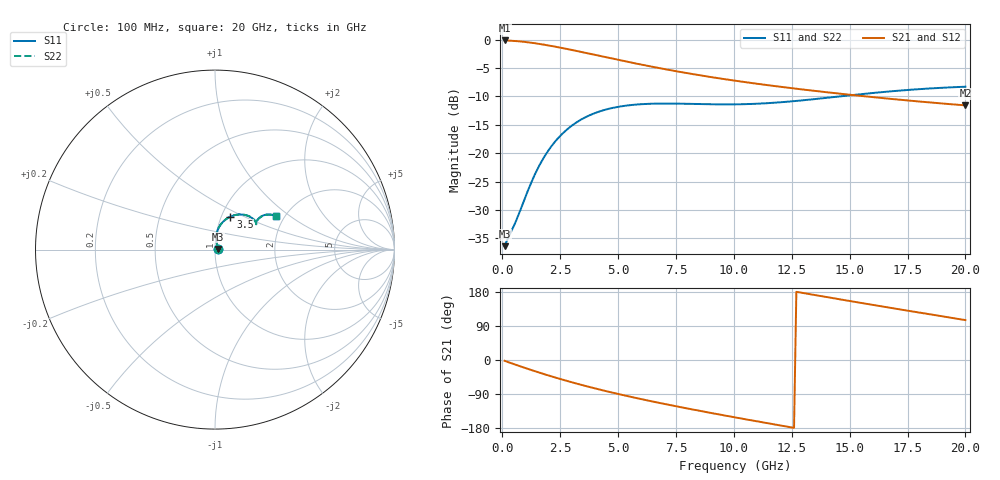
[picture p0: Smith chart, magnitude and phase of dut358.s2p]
! Touchstone file exported from HFSS 2024.1.0
!  File:  C:/UserFiles/LocalFiles/RDL_TSV_Batchsim/temp_RDL_TSV_358_1779639706.aedt
!  Generated:  12:39:42 AM May 25, 2026
!  Design:  RDL_TSV
!  Project:  temp_RDL_TSV_358_1779639706
!  Setup:  Setup1
!  Solution:  Sweep
! Variables:
!  dtsv = 8.97um
!  hbump = 3um
!  htsv = 79.08um
!  ldown = 349um
!  lrdl = 679.72um
!  p = 40
!  p1 = 56.31um
!  rhole = 10um
!  subl = 3765.88um
!  t = 450um
!  tdown = 4.45um
!  trdl = 4.34um
!  viad = 10um
!  wdown = 27.7um
!  wrdl = 21.3um
!  xbump = 18um
# GHz S MA R 50.000000
! Terminal data exported
! Port[1] = TM1_1_T1
! Port[2] = TM1_4_T1
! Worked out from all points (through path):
!   200 points, 100 MHz to 20 GHz, reference 50 ohm
!   highest |S21| = -0.13 dB at 100 MHz (marker M1); lowest = -11.6 dB at 20 GHz (marker M2)
!   group delay of S21, straight-line fit = 33.4 ps
!   lowest |S11| = -36.4 dB at 100 MHz (marker M3), VSWR 1.03, Z = 51.5 + j0.438 ohm
!   |S11| at or under -10 dB: start of sweep to 14.57 GHz
!   |S22| runs from -36.4 to -8.3 dB; largest |S21 - S12| = 1e-14
!   S11 on the Smith chart (normalised r, x): 100 MHz: 1.03, +0.01; 3.5 GHz: 1.10, +0.42; 20 GHz: 1.80, +0.79
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0.1  0.01514 16.3  0.9851 -2.2  0.9851 -2.2  0.01514 16.3
! Gamma 0 0 0 0
! Port Impedance 50 0 50 0
0.6  0.02543 59.0  0.9725 -13.0  0.9725 -13.0  0.02543 59.1
0.9  0.03644 74.6  0.96 -19.3  0.96 -19.3  0.03644 74.6
1.4  0.0644 84.3  0.9317 -29.4  0.9317 -29.4  0.06443 84.4
1.8  0.09185 84.1  0.9046 -37.2  0.9046 -37.2  0.09192 84.1
2.2  0.1207 80.8  0.8749 -44.7  0.8749 -44.7  0.1208 80.9
2.6  0.1487 76.2  0.844 -51.9  0.844 -51.9  0.1489 76.3
3  0.1746 71.2  0.8126 -58.8  0.8126 -58.8  0.1749 71.3
3.5  0.2028 64.9  0.7736 -67.0  0.7736 -67.0  0.203 65.0
4.2  0.2332 56.7  0.721 -78.0  0.721 -78.0  0.2336 56.8
5.1  0.258 47.9  0.6587 -91.0  0.6587 -91.0  0.2585 48.0
5.9  0.2693 41.7  0.6094 -101.9  0.6094 -101.9  0.2699 41.8
6.8  0.2737 36.7  0.5609 -113.5  0.5609 -113.5  0.2744 36.8
7.6  0.2732 33.8  0.5235 -123.3  0.5235 -123.3  0.274 33.8
8.4  0.2711 32.2  0.4908 -132.7  0.4908 -132.7  0.2721 32.2
10.1  0.2694 32.0  0.4338 -152.0  0.4338 -152.0  0.2704 32.0
11.7  0.2778 33.9  0.3918 -169.4  0.3918 -169.4  0.2789 33.8
13.4  0.2982 35.5  0.3556 172.4  0.3556 172.4  0.2991 35.3
15.1  0.3248 35.5  0.3257 154.7  0.3257 154.7  0.3255 35.2
16.7  0.3496 34.0  0.302 138.3  0.302 138.3  0.35 33.8
18.3  0.37 31.7  0.2818 122.2  0.2818 122.2  0.3703 31.5
20  0.3851 28.9  0.2638 105.3  0.2638 105.3  0.3852 28.7
